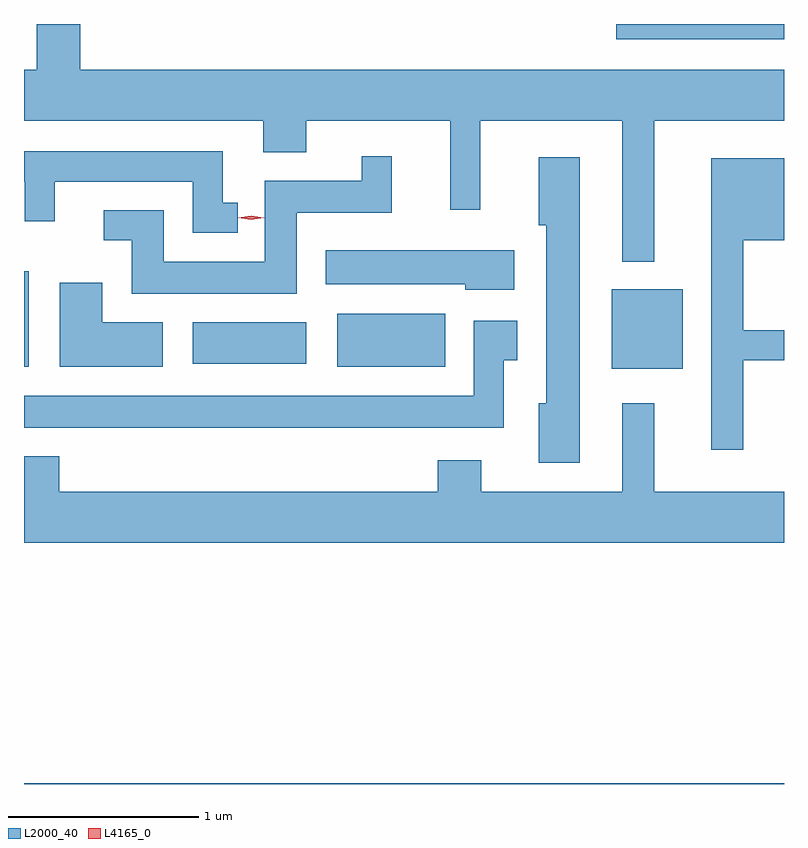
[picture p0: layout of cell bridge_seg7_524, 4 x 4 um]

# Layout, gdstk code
import gdstk
lib = gdstk.Library(unit=1e-6, precision=1e-09)
def R(c, l, rs):  # rectangles x0, y0, x1, y1
    for r in rs: c.add(gdstk.rectangle(r[:2], r[2:], *l))
def P(c, l, *ps):  # polygons
    for p in ps: c.add(gdstk.Polygon(p, *l))
L2000_40 = (2000, 40)
L4165_0 = (4165, 0)

bridge_seg7_524 = lib.new_cell('bridge_seg7_524')
R(bridge_seg7_524, L2000_40, [(848.603,1772.985,852.603,1772.989), (851.696,1775.171,852.069,1775.589), (848.603,1775.181,848.629,1775.684), (850.251,1775.181,850.819,1775.459), (849.491,1775.196,850.089,1775.414), (851.721,1776.906,852.603,1776.985)])
P(bridge_seg7_524, L2000_40, [(851.919,1776.476),(852.603,1776.476),(852.603,1776.744),(848.899,1776.744),(848.899,1776.985),(848.671,1776.985),(848.671,1776.744),(848.603,1776.744),(848.603,1776.476),(849.861,1776.476),(849.861,1776.311),(850.089,1776.311),(850.089,1776.476),(850.846,1776.476),(850.846,1776.008),(851.004,1776.008),(851.004,1776.476),(851.751,1776.476),(851.751,1775.733),(851.919,1775.733)],
  [(849.728,1776.044),(849.649,1776.044),(849.649,1776.314),(848.603,1776.314),(848.603,1776.156),(848.606,1776.156),(848.606,1775.948),(848.764,1775.948),(848.764,1776.156),(849.491,1776.156),(849.491,1775.886),(849.728,1775.886)],
  [(850.039,1775.991),(850.539,1775.991),(850.539,1776.288),(850.381,1776.288),(850.381,1776.159),(849.871,1776.159),(849.871,1775.734),(849.339,1775.734),(849.339,1776.004),(849.023,1776.004),(849.023,1775.846),(849.171,1775.846),(849.171,1775.566),(850.039,1775.566)],
  [(851.529,1776.284),(851.311,1776.284),(851.311,1775.926),(851.351,1775.926),(851.351,1774.989),(851.311,1774.989),(851.311,1774.676),(851.529,1774.676)],
  [(852.389,1775.216),(852.603,1775.216),(852.603,1775.374),(852.389,1775.374),(852.389,1775.846),(852.603,1775.846),(852.603,1776.279),(852.221,1776.279),(852.221,1774.743),(852.389,1774.743)],
  [(851.184,1775.794),(850.191,1775.794),(850.191,1775.616),(850.926,1775.616),(850.926,1775.586),(851.184,1775.586)],
  [(849.334,1775.414),(849.014,1775.414),(849.014,1775.624),(848.791,1775.624),(848.791,1775.181),(849.334,1775.181)],
  [(851.129,1775.216),(851.199,1775.216),(851.199,1775.424),(850.971,1775.424),(850.971,1775.029),(848.603,1775.029),(848.603,1774.861),(851.129,1774.861)],
  [(852.603,1774.524),(851.919,1774.524),(851.919,1774.988),(851.751,1774.988),(851.751,1774.524),(851.009,1774.524),(851.009,1774.689),(850.781,1774.689),(850.781,1774.524),(848.789,1774.524),(848.789,1774.709),(848.603,1774.709),(848.603,1774.256),(852.603,1774.256)])
P(bridge_seg7_524, L4165_0, [(849.798,1775.955),(849.729,1775.964),(849.729,1775.965),(849.729,1775.965),(849.798,1775.975),(849.868,1775.965),(849.868,1775.965),(849.868,1775.964)])

lib.write_gds('bridge_seg7_524.gds')
